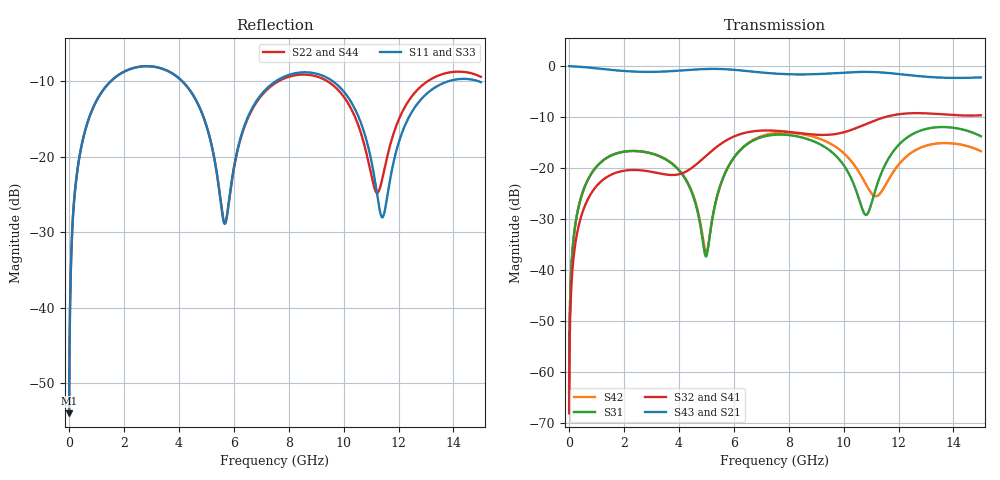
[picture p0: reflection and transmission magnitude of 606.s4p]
! Created with skrf 1.8.0 (http://scikit-rf.org).
# GHz S RI R 50.0
!freq ReS11 ImS11 ReS12 ImS12 ReS13 ImS13
! ReS14 ImS14
! ReS21 ImS21 ReS22 ImS22 ReS23 ImS23
! ReS24 ImS24
! ReS31 ImS31 ReS32 ImS32 ReS33 ImS33
! ReS34 ImS34
! ReS41 ImS41 ReS42 ImS42 ReS43 ImS43
! ReS44 ImS44
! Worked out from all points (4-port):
!   2499 points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, 5 MHz to 15 GHz, reference 50 ohm
!   strongest paths, dB at 5 MHz, 3.476 GHz, 7.19 GHz, 11.1 GHz, 15 GHz:
!     S43: 0.0, -1.1, -1.3, -1.2, -2.2
!     S21: 0.0, -1.1, -1.3, -1.2, -2.2
!     S32: -68.2, -21.2, -12.6, -10.8, -9.7
!     S41: -68.2, -21.3, -12.7, -10.8, -9.7
!     S31: -64.3, -18.2, -13.7, -25.4, -13.8
!     S42: -64.3, -18.1, -13.5, -25.4, -16.7
!   lowest |S11| = -54.0 dB at 5 MHz (marker M1), VSWR 1.00, Z = 50.2 + j0.121 ohm
!   |S11| at or under -10 dB: start of sweep to 1.525 GHz; 4.122 GHz to 7.536 GHz (3.414 GHz wide, 58.6 % of centre); 9.602 GHz to 13.83 GHz (4.229 GHz wide, 36.1 % of centre) (the widest 3 of 4)
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0.005  0.00158 0.00121  0.9984 -0.00309  7.85e-05 0.000603  -7.64e-05 -0.000382
       0.9984 -0.00309  0.00158 0.00121  -7.64e-05 -0.000382  7.86e-05 0.000603
       7.85e-05 0.000603  -7.64e-05 -0.000382  0.00158 0.00121  0.9984 -0.00309
       -7.64e-05 -0.000382  7.86e-05 0.000603  0.9984 -0.00309  0.00158 0.00121
0.3126303  0.0227 0.0797  0.9691 -0.1922  0.00995 0.036  -0.00835 -0.0226
           0.9691 -0.1922  0.0227 0.0797  -0.00836 -0.0226  0.01 0.036
           0.00995 0.036  -0.00836 -0.0226  0.0227 0.0797  0.9691 -0.1922
           -0.00835 -0.0226  0.01 0.036  0.9691 -0.1922  0.0227 0.0797
1.519383  0.2547 0.1862  0.5848 -0.709  0.1158 0.0628  -0.0845 -0.0121
          0.5848 -0.709  0.2544 0.1863  -0.0846 -0.012  0.1165 0.0619
          0.1158 0.0628  -0.0846 -0.012  0.2546 0.1863  0.5848 -0.709
          -0.0845 -0.0121  0.1165 0.0619  0.5848 -0.709  0.2545 0.1863
5.489787  0.0371 -0.0424  -0.9249 -0.1519  -0.0106 0.064  -0.0267 0.1672
          -0.9249 -0.1519  0.0376 -0.0427  -0.0246 0.1676  -0.00914 0.0635
          -0.0106 0.064  -0.0246 0.1676  0.0365 -0.0425  -0.9249 -0.1518
          -0.0267 0.1672  -0.00914 0.0635  -0.9249 -0.1518  0.0382 -0.0424
8.878699  0.3526 -0.0647  0.0384 0.8311  0.173 -0.0626  0.1937 -0.0822
          0.0384 0.8311  0.3407 -0.0519  0.1941 -0.0878  0.1692 -0.1128
          0.173 -0.0626  0.1941 -0.0878  0.3517 -0.0603  0.0385 0.8311
          0.1937 -0.0822  0.1692 -0.1128  0.0385 0.8311  0.3415 -0.0566
11.411  0.0394 -0.00297  0.8592 0.1011  0.0669 0.0656  0.0304 -0.3085
        0.8592 0.1011  0.0618 0.036  0.0202 -0.3093  -0.0371 0.0475
        0.0669 0.0656  0.0202 -0.3093  0.0438 -0.00215  0.8593 0.1007
        0.0304 -0.3085  -0.0371 0.0475  0.8593 0.1007  0.056 0.0366
15  0.3027 -0.0734  -0.1267 -0.7646  0.1104 -0.1723  -0.3092 0.104
    -0.1267 -0.7646  0.3164 -0.1183  -0.3069 0.1185  0.094 -0.1119
    0.1104 -0.1723  -0.3069 0.1185  0.3016 -0.0666  -0.1269 -0.7646
    -0.3092 0.104  0.094 -0.1119  -0.1269 -0.7646  0.3168 -0.1236
